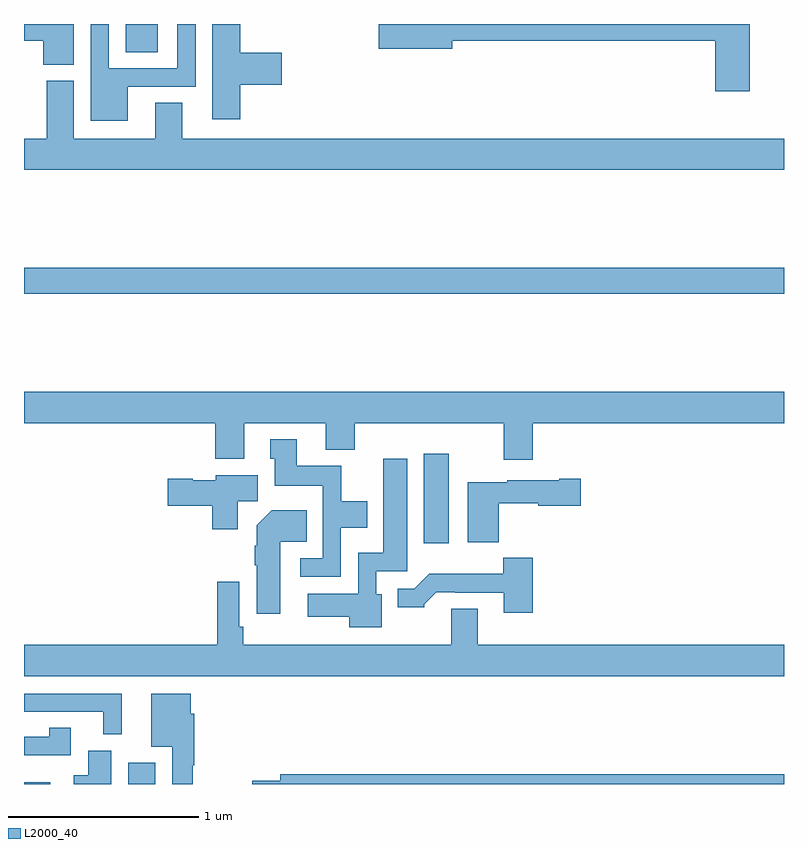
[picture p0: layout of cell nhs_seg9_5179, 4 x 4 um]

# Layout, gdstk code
import gdstk
lib = gdstk.Library(unit=1e-6, precision=1e-09)
def R(c, l, rs):  # rectangles x0, y0, x1, y1
    for r in rs: c.add(gdstk.rectangle(r[:2], r[2:], *l))
def P(c, l, *ps):  # polygons
    for p in ps: c.add(gdstk.Polygon(p, *l))
L2000_40 = (2000, 40)

nhs_seg9_5179 = lib.new_cell('nhs_seg9_5179')
R(nhs_seg9_5179, L2000_40, [(411,1214.5,411.139,1214.509), (411.548,1214.5,411.691,1214.611), (413.105,1215.768,413.236,1216.237), (411,1217.08,415,1217.216), (411.536,1218.352,411.703,1218.5)])
P(nhs_seg9_5179, L2000_40, [(411.262,1218.5),(411,1218.5),(411,1218.412),(411.101,1218.412),(411.101,1218.286),(411.262,1218.286)],
  [(414.821,1218.5),(412.866,1218.5),(412.866,1218.37),(413.254,1218.37),(413.254,1218.412),(414.638,1218.412),(414.638,1218.147),(414.821,1218.147)],
  [(411.547,1218.171),(411.903,1218.171),(411.903,1218.5),(411.807,1218.5),(411.807,1218.267),(411.447,1218.267),(411.447,1218.5),(411.351,1218.5),(411.351,1217.99),(411.547,1217.99)],
  [(412.139,1218.179),(412.357,1218.179),(412.357,1218.35),(412.139,1218.35),(412.139,1218.5),(411.992,1218.5),(411.992,1218),(412.139,1218)],
  [(415,1217.896),(411.832,1217.896),(411.832,1218.086),(411.692,1218.086),(411.692,1217.896),(411.262,1217.896),(411.262,1218.201),(411.119,1218.201),(411.119,1217.896),(411,1217.896),(411,1217.732),(415,1217.732)],
  [(413.678,1216.4),(415,1216.4),(415,1216.564),(411,1216.564),(411,1216.4),(412.007,1216.4),(412.007,1216.211),(412.159,1216.211),(412.159,1216.4),(412.589,1216.4),(412.589,1216.259),(412.742,1216.259),(412.742,1216.4),(413.525,1216.4),(413.525,1216.206),(413.678,1216.206)],
  [(412.668,1215.848),(412.807,1215.848),(412.807,1215.988),(412.671,1215.988),(412.671,1216.174),(412.435,1216.174),(412.435,1216.315),(412.295,1216.315),(412.295,1216.212),(412.319,1216.212),(412.319,1216.07),(412.572,1216.07),(412.572,1215.687),(412.455,1215.687),(412.455,1215.591),(412.668,1215.591)],
  [(412.882,1215.498),(412.854,1215.498),(412.854,1215.621),(413.017,1215.621),(413.017,1216.213),(412.892,1216.213),(412.892,1215.718),(412.758,1215.718),(412.758,1215.502),(412.494,1215.502),(412.494,1215.38),(412.711,1215.38),(412.711,1215.326),(412.882,1215.326)],
  [(412.126,1215.988),(412.231,1215.988),(412.231,1216.126),(412.008,1216.126),(412.008,1216.099),(411.888,1216.099),(411.888,1216.107),(411.756,1216.107),(411.756,1215.965),(411.992,1215.965),(411.992,1215.84),(412.126,1215.84)],
  [(413.498,1215.977),(413.706,1215.977),(413.706,1215.965),(413.929,1215.965),(413.929,1216.107),(413.816,1216.107),(413.816,1216.099),(413.544,1216.099),(413.544,1216.087),(413.336,1216.087),(413.336,1215.773),(413.498,1215.773)],
  [(412.348,1215.776),(412.487,1215.776),(412.487,1215.94),(412.304,1215.94),(412.226,1215.862),(412.226,1215.755),(412.214,1215.755),(412.214,1215.652),(412.226,1215.652),(412.226,1215.396),(412.348,1215.396)],
  [(413.678,1215.691),(413.523,1215.691),(413.523,1215.607),(413.134,1215.607),(413.055,1215.528),(412.967,1215.528),(412.967,1215.431),(413.106,1215.431),(413.106,1215.446),(413.17,1215.51),(413.269,1215.51),(413.269,1215.507),(413.525,1215.507),(413.525,1215.402),(413.678,1215.402)],
  [(415,1215.232),(413.389,1215.232),(413.389,1215.422),(413.249,1215.422),(413.249,1215.232),(412.154,1215.232),(412.154,1215.328),(412.134,1215.328),(412.134,1215.565),(412.018,1215.565),(412.018,1215.232),(411,1215.232),(411,1215.068),(415,1215.068)],
  [(411.514,1214.976),(411,1214.976),(411,1214.88),(411.416,1214.88),(411.416,1214.761),(411.514,1214.761)],
  [(411.889,1214.6),(411.896,1214.6),(411.896,1214.87),(411.877,1214.87),(411.877,1214.974),(411.671,1214.974),(411.671,1214.696),(411.78,1214.696),(411.78,1214.5),(411.889,1214.5)],
  [(411.247,1214.795),(411.134,1214.795),(411.134,1214.749),(411,1214.749),(411,1214.651),(411.247,1214.651)],
  [(411.46,1214.676),(411.338,1214.676),(411.338,1214.545),(411.263,1214.545),(411.263,1214.5),(411.46,1214.5)],
  [(415,1214.552),(412.349,1214.552),(412.349,1214.516),(412.2,1214.516),(412.2,1214.5),(415,1214.5)])

lib.write_gds('nhs_seg9_5179.gds')
